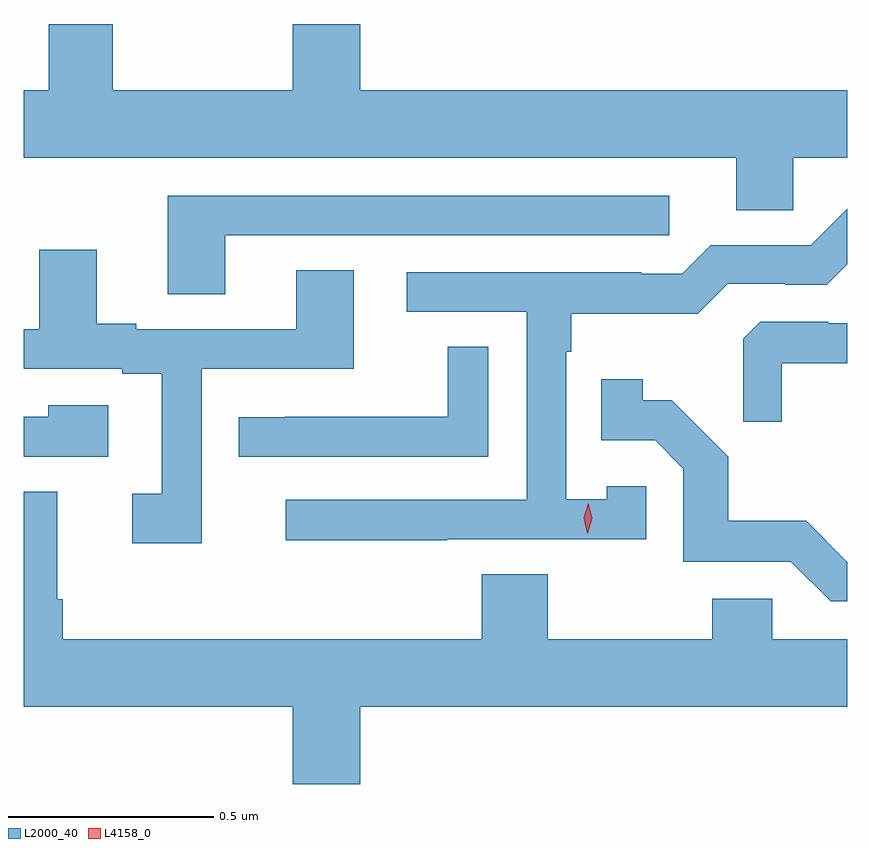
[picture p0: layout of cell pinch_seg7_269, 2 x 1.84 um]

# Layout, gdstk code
import gdstk
lib = gdstk.Library(unit=1e-6, precision=1e-09)
def P(c, l, *ps):  # polygons
    for p in ps: c.add(gdstk.Polygon(p, *l))
L2000_40 = (2000, 40)
L4158_0 = (4158, 0)

pinch_seg7_269 = lib.new_cell('pinch_seg7_269')
P(pinch_seg7_269, L2000_40, [(813.576,1049.9),(813.707,1049.9),(813.707,1050.064),(812.524,1050.064),(812.524,1050.225),(812.36,1050.225),(812.36,1050.064),(811.923,1050.064),(811.923,1050.225),(811.768,1050.225),(811.768,1050.064),(811.707,1050.064),(811.707,1049.9),(813.437,1049.9),(813.437,1049.773),(813.576,1049.773)],
  [(812.197,1049.712),(813.274,1049.712),(813.274,1049.808),(812.057,1049.808),(812.057,1049.569),(812.197,1049.569)],
  [(812.735,1048.974),(813.219,1048.974),(813.219,1049.103),(813.123,1049.103),(813.123,1049.071),(813.024,1049.071),(813.024,1049.429),(813.037,1049.429),(813.037,1049.522),(813.344,1049.522),(813.417,1049.595),(813.556,1049.595),(813.556,1049.592),(813.657,1049.592),(813.707,1049.642),(813.707,1049.777),(813.618,1049.688),(813.375,1049.688),(813.306,1049.619),(813.206,1049.619),(813.206,1049.622),(812.637,1049.622),(812.637,1049.526),(812.928,1049.526),(812.928,1049.07),(812.343,1049.07),(812.343,1048.972),(812.735,1048.972)],
  [(812.139,1049.388),(812.509,1049.388),(812.509,1049.627),(812.369,1049.627),(812.369,1049.484),(811.981,1049.484),(811.981,1049.497),(811.885,1049.497),(811.885,1049.677),(811.745,1049.677),(811.745,1049.484),(811.707,1049.484),(811.707,1049.388),(811.946,1049.388),(811.946,1049.376),(812.042,1049.376),(812.042,1049.085),(811.971,1049.085),(811.971,1048.965),(812.139,1048.965)],
  [(813.548,1049.402),(813.707,1049.402),(813.707,1049.499),(813.66,1049.499),(813.66,1049.502),(813.495,1049.502),(813.454,1049.461),(813.454,1049.259),(813.548,1049.259)],
  [(812.835,1049.441),(812.737,1049.441),(812.737,1049.271),(812.341,1049.271),(812.341,1049.27),(812.229,1049.27),(812.229,1049.175),(812.835,1049.175)],
  [(813.707,1048.92),(813.705,1048.92),(813.607,1049.019),(813.418,1049.019),(813.418,1049.174),(813.28,1049.312),(813.21,1049.312),(813.21,1049.362),(813.109,1049.362),(813.109,1049.214),(813.24,1049.214),(813.309,1049.145),(813.309,1048.92),(813.57,1048.92),(813.666,1048.824),(813.707,1048.824)],
  [(811.912,1049.299),(811.767,1049.299),(811.767,1049.271),(811.707,1049.271),(811.707,1049.175),(811.912,1049.175)],
  [(812.524,1048.568),(813.707,1048.568),(813.707,1048.732),(813.525,1048.732),(813.525,1048.83),(813.379,1048.83),(813.379,1048.732),(812.979,1048.732),(812.979,1048.889),(812.819,1048.889),(812.819,1048.732),(811.802,1048.732),(811.802,1048.828),(811.789,1048.828),(811.789,1049.089),(811.707,1049.089),(811.707,1048.568),(812.36,1048.568),(812.36,1048.38),(812.524,1048.38)])
P(pinch_seg7_269, L4158_0, [(813.075,1048.989),(813.067,1049.026),(813.078,1049.061),(813.078,1049.062),(813.078,1049.061),(813.087,1049.025),(813.076,1048.989),(813.076,1048.989)])

lib.write_gds('pinch_seg7_269.gds')
